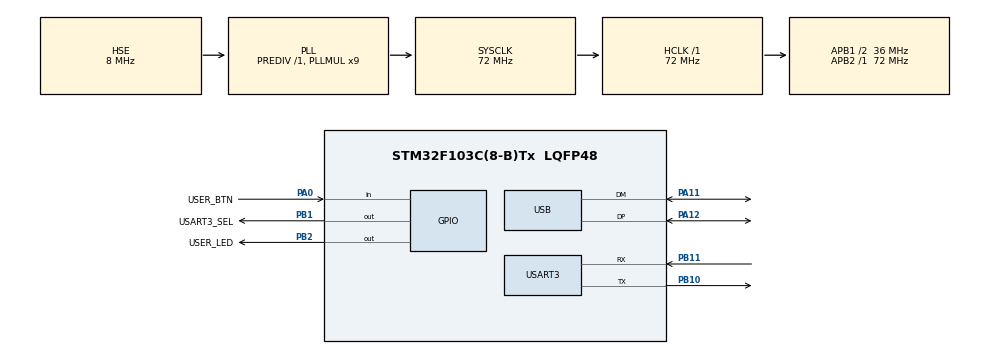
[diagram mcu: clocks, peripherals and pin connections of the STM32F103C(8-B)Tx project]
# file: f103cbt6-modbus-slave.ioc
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Dma.Request0=USART3_RX
Dma.Request1=USART3_TX
Dma.USART3_RX.0.Direction=DMA_PERIPH_TO_MEMORY
Dma.USART3_RX.0.Instance=DMA1_Channel3
Dma.USART3_RX.0.MemDataAlignment=DMA_MDATAALIGN_BYTE
Dma.USART3_RX.0.MemInc=DMA_MINC_ENABLE
Dma.USART3_RX.0.Mode=DMA_NORMAL
Dma.USART3_RX.0.PeriphDataAlignment=DMA_PDATAALIGN_BYTE
Dma.USART3_RX.0.PeriphInc=DMA_PINC_DISABLE
Dma.USART3_RX.0.Priority=DMA_PRIORITY_LOW
Dma.USART3_TX.1.Direction=DMA_MEMORY_TO_PERIPH
Dma.USART3_TX.1.Instance=DMA1_Channel2
Dma.USART3_TX.1.MemDataAlignment=DMA_MDATAALIGN_BYTE
Dma.USART3_TX.1.MemInc=DMA_MINC_ENABLE
Dma.USART3_TX.1.Mode=DMA_NORMAL
Dma.USART3_TX.1.PeriphDataAlignment=DMA_PDATAALIGN_BYTE
Dma.USART3_TX.1.PeriphInc=DMA_PINC_DISABLE
Dma.USART3_TX.1.Priority=DMA_PRIORITY_LOW
Mcu.Family=STM32F1
Mcu.Name=STM32F103C(8-B)Tx
Mcu.Package=LQFP48
NVIC.DMA1_Channel2_IRQn=true\:0\:0\:false\:false\:true\:false\:true\:true
NVIC.DMA1_Channel3_IRQn=true\:0\:0\:false\:false\:true\:false\:true\:true
NVIC.PriorityGroup=NVIC_PRIORITYGROUP_4
NVIC.USART3_IRQn=true\:0\:0\:false\:false\:true\:true\:true\:true
NVIC.USB_LP_CAN1_RX0_IRQn=true\:0\:0\:false\:false\:true\:false\:true\:true
PA0-WKUP.GPIO_Label=USER_BTN
PA0-WKUP.GPIO_PuPd=GPIO_PULLDOWN
PA0-WKUP.Signal=GPIO_Input
PA11.Mode=Device
PA11.Signal=USB_DM
PA12.Mode=Device
PA12.Signal=USB_DP
PA13.Mode=Serial_Wire
PA13.Signal=SYS_JTMS-SWDIO
PA14.Mode=Serial_Wire
PA14.Signal=SYS_JTCK-SWCLK
PB1.GPIO_Label=USART3_SEL
PB1.Signal=GPIO_Output
PB10.Mode=Asynchronous
PB10.Signal=USART3_TX
PB11.Mode=Asynchronous
PB11.Signal=USART3_RX
PB2.GPIO_Label=USER_LED
PB2.Signal=GPIO_Output
PC14-OSC32_IN.Mode=LSE-External-Oscillator
PC14-OSC32_IN.Signal=RCC_OSC32_IN
PC15-OSC32_OUT.Mode=LSE-External-Oscillator
PC15-OSC32_OUT.Signal=RCC_OSC32_OUT
PD0-OSC_IN.Mode=HSE-External-Oscillator
PD0-OSC_IN.Signal=RCC_OSC_IN
PD1-OSC_OUT.Mode=HSE-External-Oscillator
PD1-OSC_OUT.Signal=RCC_OSC_OUT
ProjectManager.HeapSize=0x200
ProjectManager.StackSize=0x400
ProjectManager.TargetToolchain=STM32CubeIDE
RCC.AHBFreq_Value=72000000
RCC.APB1CLKDivider=RCC_HCLK_DIV2
RCC.APB1Freq_Value=36000000
RCC.APB1TimFreq_Value=72000000
RCC.APB2Freq_Value=72000000
RCC.APB2TimFreq_Value=72000000
RCC.HCLKFreq_Value=72000000
RCC.PLLMUL=RCC_PLL_MUL9
RCC.SYSCLKFreq_VALUE=72000000
RCC.SYSCLKSource=RCC_SYSCLKSOURCE_PLLCLK
RCC.USBFreq_Value=48000000
RCC.USBPrescaler=RCC_USBCLKSOURCE_PLL_DIV1_5
USART3.VirtualMode=VM_ASYNC
USB_DEVICE.CLASS_NAME_FS=CDC
USB_DEVICE.VirtualMode=Cdc
USB_DEVICE.VirtualModeFS=Cdc_FS
VP_USB_DEVICE_VS_USB_DEVICE_CDC_FS.Mode=CDC_FS
board=custom

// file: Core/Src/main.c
/* USER CODE BEGIN Header */
/**
 ******************************************************************************
 * @file           : main.c
 * @brief          : Main program body
 ******************************************************************************
 * @attention
 *
 * Copyright (c) 2026 STMicroelectronics.
 * All rights reserved.
 *
 * This software is licensed under terms that can be found in the LICENSE file
 * in the root directory of this software component.
 * If no LICENSE file comes with this software, it is provided AS-IS.
 *
 ******************************************************************************
 */
/* USER CODE END Header */
#include "main.h"
#include "usb_device.h"

/* USER CODE BEGIN Includes */
#include "string.h"
/* USER CODE END Includes */

/* USER CODE BEGIN PD */
#define MY_SLAVE_ID 0x01
#define RX_BUF_SIZE 16
/* USER CODE END PD */

UART_HandleTypeDef huart3;
DMA_HandleTypeDef hdma_usart3_rx;
DMA_HandleTypeDef hdma_usart3_tx;

/* USER CODE BEGIN PV */
UART_HandleTypeDef huart3;
DMA_HandleTypeDef hdma_USART3_rx;
DMA_HandleTypeDef hdma_USART3_tx;

uint8_t tx_buf[16];
uint8_t rx_buf[RX_BUF_SIZE];

volatile uint8_t process_modbus_flag = 0;
volatile uint16_t rx_length = 0;
/* USER CODE END PV */

void SystemClock_Config(void);
static void MX_GPIO_Init(void);
static void MX_DMA_Init(void);
static void MX_USART3_UART_Init(void);

/* USER CODE BEGIN 0 */

uint16_t Modbus_CRC16(uint8_t *buf, uint8_t len) {
	uint16_t crc = 0xFFFF;
	for (int pos = 0; pos < len; pos++) {
		crc ^= (uint16_t) buf[pos];
		for (int i = 8; i != 0; i--) {
			if ((crc & 0x0001) != 0) {
				crc >>= 1;
				crc ^= 0xA001;
			} else {
				crc >>= 1;
			}
		}
	}
	return crc;
}

// Transmit menggunakan DMA
void RS485_Send_DMA(uint8_t *data, uint16_t len) {
	HAL_GPIO_WritePin(USART3_SEL_GPIO_Port, USART3_SEL_Pin, GPIO_PIN_SET); // DE/RE HIGH
	__NOP();
	__NOP();
	__NOP();
	HAL_UART_Transmit_DMA(&huart3, data, len);
}

// Callback RX DMA (Frame Modbus Lengkap Diterima berdasarkan jeda waktu / IDLE Line)
void HAL_UARTEx_RxEventCallback(UART_HandleTypeDef *huart, uint16_t Size) {
	if (huart->Instance == USART3) {
		rx_length = Size;
		process_modbus_flag = 1; // Beri sinyal ke main loop untuk memproses data
	}
}

// Callback TX DMA (Pengiriman ke Master Selesai)
void HAL_UART_TxCpltCallback(UART_HandleTypeDef *huart) {
	if (huart->Instance == USART3) {
		HAL_GPIO_WritePin(USART3_SEL_GPIO_Port, USART3_SEL_Pin, GPIO_PIN_RESET); // Kembali ke mode Receive
		// Dengarkan kembali permintaan selanjutnya
		HAL_UARTEx_ReceiveToIdle_DMA(&huart3, rx_buf, RX_BUF_SIZE);
	}
}
/* USER CODE END 0 */

int main(void)
{

  /* MCU Configuration--------------------------------------------------------*/

  /* Reset of all peripherals, Initializes the Flash interface and the Systick. */
  HAL_Init();

  /* Configure the system clock */
  SystemClock_Config();

  /* Initialize all configured peripherals */
  MX_GPIO_Init();
  MX_DMA_Init();
  MX_USART3_UART_Init();
  MX_USB_DEVICE_Init();
  /* USER CODE BEGIN 2 */

	// Pastikan modul MAX485 pada posisi Receive di awal
	HAL_GPIO_WritePin(GPIOA, GPIO_PIN_8, GPIO_PIN_RESET);

	// Memulai proses penerimaan DMA pertama kali
	HAL_UARTEx_ReceiveToIdle_DMA(&huart3, rx_buf, RX_BUF_SIZE);

	uint16_t crc;
  /* USER CODE END 2 */

  /* Infinite loop */
  /* USER CODE BEGIN WHILE */
	while (1) {

		// --- LOGIKA MODBUS SLAVE (Dijalankan hanya jika ada frame yang masuk) ---
		if (process_modbus_flag) {
			process_modbus_flag = 0; // Reset flag

			// Validasi ID Slave dan Panjang minimal
			if (rx_length >= 8 && rx_buf[0] == MY_SLAVE_ID) {
				// Validasi CRC
				if (Modbus_CRC16(rx_buf, rx_length - 2)
						== (rx_buf[rx_length - 2] | (rx_buf[rx_length - 1] << 8))) {
					// 1. Perintah Write Coil (FC 05) - Minta Slave Ubah LED
					if (rx_buf[1] == 0x05) {
						if (rx_buf[4] == 0xFF)
							HAL_GPIO_WritePin(USER_LED_GPIO_Port, USER_LED_Pin,
									GPIO_PIN_SET);
						else if (rx_buf[4] == 0x00)
							HAL_GPIO_WritePin(USER_LED_GPIO_Port, USER_LED_Pin,
									GPIO_PIN_RESET);

						// Modbus FC05 responnya adalah menggemakan ulang (echo) pesannya
						RS485_Send_DMA(rx_buf, 8);
					}

					// 2. Perintah Read Input (FC 02) - Master Minta Status Tombol
					else if (rx_buf[1] == 0x02) {
						uint8_t my_btn =
								(HAL_GPIO_ReadPin(USER_BTN_GPIO_Port,
										USER_BTN_Pin) == GPIO_PIN_RESET) ?
										1 : 0;

						tx_buf[0] = MY_SLAVE_ID;
						tx_buf[1] = 0x02;
						tx_buf[2] = 0x01; // Byte count
						tx_buf[3] = my_btn; // Data status tombol

						crc = Modbus_CRC16(tx_buf, 4);
						tx_buf[4] = crc & 0xFF;
						tx_buf[5] = (crc >> 8) & 0xFF;

						RS485_Send_DMA(tx_buf, 6);
					}
				}
			} else {
				// Jika data tidak valid atau bukan untuk slave ini,
				// reset ulang RX DMA agar tidak macet
				HAL_UARTEx_ReceiveToIdle_DMA(&huart3, rx_buf, RX_BUF_SIZE);
			}
		}
    /* USER CODE END WHILE */

	}
}

void SystemClock_Config(void)
{
  RCC_OscInitTypeDef RCC_OscInitStruct = {0};
  RCC_ClkInitTypeDef RCC_ClkInitStruct = {0};
  RCC_PeriphCLKInitTypeDef PeriphClkInit = {0};

  /** Initializes the RCC Oscillators according to the specified parameters
  * in the RCC_OscInitTypeDef structure.
  */
  RCC_OscInitStruct.OscillatorType = RCC_OSCILLATORTYPE_HSE;
  RCC_OscInitStruct.HSEState = RCC_HSE_ON;
  RCC_OscInitStruct.HSEPredivValue = RCC_HSE_PREDIV_DIV1;
  RCC_OscInitStruct.HSIState = RCC_HSI_ON;
  RCC_OscInitStruct.PLL.PLLState = RCC_PLL_ON;
  RCC_OscInitStruct.PLL.PLLSource = RCC_PLLSOURCE_HSE;
  RCC_OscInitStruct.PLL.PLLMUL = RCC_PLL_MUL9;
  if (HAL_RCC_OscConfig(&RCC_OscInitStruct) != HAL_OK)
  {
    Error_Handler();
  }

  /** Initializes the CPU, AHB and APB buses clocks
  */
  RCC_ClkInitStruct.ClockType = RCC_CLOCKTYPE_HCLK|RCC_CLOCKTYPE_SYSCLK
                              |RCC_CLOCKTYPE_PCLK1|RCC_CLOCKTYPE_PCLK2;
  RCC_ClkInitStruct.SYSCLKSource = RCC_SYSCLKSOURCE_PLLCLK;
  RCC_ClkInitStruct.AHBCLKDivider = RCC_SYSCLK_DIV1;
  RCC_ClkInitStruct.APB1CLKDivider = RCC_HCLK_DIV2;
  RCC_ClkInitStruct.APB2CLKDivider = RCC_HCLK_DIV1;

  if (HAL_RCC_ClockConfig(&RCC_ClkInitStruct, FLASH_LATENCY_2) != HAL_OK)
  {
    Error_Handler();
  }
  PeriphClkInit.PeriphClockSelection = RCC_PERIPHCLK_USB;
  PeriphClkInit.UsbClockSelection = RCC_USBCLKSOURCE_PLL_DIV1_5;
  if (HAL_RCCEx_PeriphCLKConfig(&PeriphClkInit) != HAL_OK)
  {
    Error_Handler();
  }
}

static void MX_USART3_UART_Init(void)
{

  huart3.Instance = USART3;
  huart3.Init.BaudRate = 115200;
  huart3.Init.WordLength = UART_WORDLENGTH_8B;
  huart3.Init.StopBits = UART_STOPBITS_1;
  huart3.Init.Parity = UART_PARITY_NONE;
  huart3.Init.Mode = UART_MODE_TX_RX;
  huart3.Init.HwFlowCtl = UART_HWCONTROL_NONE;
  huart3.Init.OverSampling = UART_OVERSAMPLING_16;
  if (HAL_UART_Init(&huart3) != HAL_OK)
  {
    Error_Handler();
  }

}

static void MX_DMA_Init(void)
{

  /* DMA controller clock enable */
  __HAL_RCC_DMA1_CLK_ENABLE();

  /* DMA interrupt init */
  /* DMA1_Channel2_IRQn interrupt configuration */
  HAL_NVIC_SetPriority(DMA1_Channel2_IRQn, 0, 0);
  HAL_NVIC_EnableIRQ(DMA1_Channel2_IRQn);
  /* DMA1_Channel3_IRQn interrupt configuration */
  HAL_NVIC_SetPriority(DMA1_Channel3_IRQn, 0, 0);
  HAL_NVIC_EnableIRQ(DMA1_Channel3_IRQn);

}

static void MX_GPIO_Init(void)
{
  GPIO_InitTypeDef GPIO_InitStruct = {0};

  /* GPIO Ports Clock Enable */
  __HAL_RCC_GPIOC_CLK_ENABLE();
  __HAL_RCC_GPIOD_CLK_ENABLE();
  __HAL_RCC_GPIOA_CLK_ENABLE();
  __HAL_RCC_GPIOB_CLK_ENABLE();

  /*Configure GPIO pin Output Level */
  HAL_GPIO_WritePin(GPIOB, USART3_SEL_Pin|USER_LED_Pin, GPIO_PIN_RESET);

  /*Configure GPIO pin : USER_BTN_Pin */
  GPIO_InitStruct.Pin = USER_BTN_Pin;
  GPIO_InitStruct.Mode = GPIO_MODE_INPUT;
  GPIO_InitStruct.Pull = GPIO_PULLDOWN;
  HAL_GPIO_Init(USER_BTN_GPIO_Port, &GPIO_InitStruct);

  /*Configure GPIO pins : USART3_SEL_Pin USER_LED_Pin */
  GPIO_InitStruct.Pin = USART3_SEL_Pin|USER_LED_Pin;
  GPIO_InitStruct.Mode = GPIO_MODE_OUTPUT_PP;
  GPIO_InitStruct.Pull = GPIO_NOPULL;
  GPIO_InitStruct.Speed = GPIO_SPEED_FREQ_LOW;
  HAL_GPIO_Init(GPIOB, &GPIO_InitStruct);

}

void Error_Handler(void)
{
	__disable_irq();
	while (1) {
	}
}
